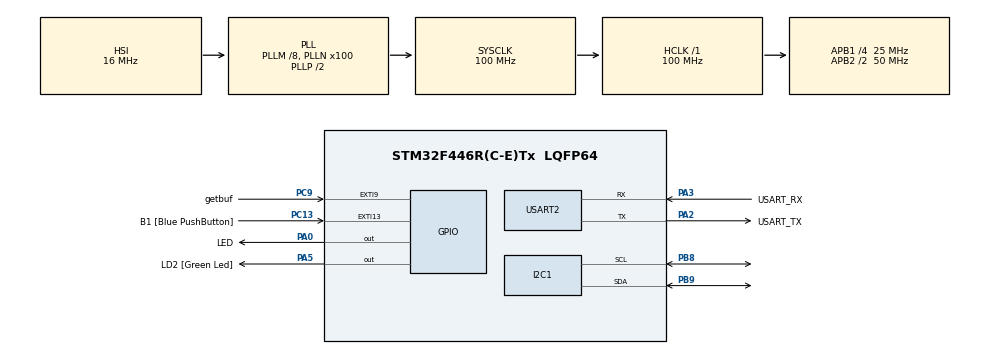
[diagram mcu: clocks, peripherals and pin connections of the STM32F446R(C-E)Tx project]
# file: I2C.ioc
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Mcu.Family=STM32F4
Mcu.Name=STM32F446R(C-E)Tx
Mcu.Package=LQFP64
NVIC.EXTI9_5_IRQn=true\:0\:0\:false\:false\:true\:true\:true
NVIC.PriorityGroup=NVIC_PRIORITYGROUP_0
PA0-WKUP.GPIO_Label=LED
PA0-WKUP.PinState=GPIO_PIN_RESET
PA0-WKUP.Signal=GPIO_Output
PA13.GPIO_Label=TMS
PA13.Mode=Serial_Wire
PA13.Signal=SYS_JTMS-SWDIO
PA14.GPIO_Label=TCK
PA14.Mode=Serial_Wire
PA14.Signal=SYS_JTCK-SWCLK
PA2.GPIO_Label=USART_TX
PA2.Mode=Asynchronous
PA2.Signal=USART2_TX
PA3.GPIO_Label=USART_RX
PA3.Mode=Asynchronous
PA3.Signal=USART2_RX
PA5.GPIO_Label=LD2 [Green Led]
PA5.Signal=GPIO_Output
PB3.GPIO_Label=SWO
PB3.Signal=SYS_JTDO-SWO
PB8.Mode=I2C
PB8.Signal=I2C1_SCL
PB9.Mode=I2C
PB9.Signal=I2C1_SDA
PC13.GPIO_Label=B1 [Blue PushButton]
PC13.GPIO_ModeDefaultEXTI=GPIO_MODE_IT_FALLING
PC13.Signal=GPXTI13
PC14-OSC32_IN.Mode=LSE-External-Oscillator
PC14-OSC32_IN.Signal=RCC_OSC32_IN
PC15-OSC32_OUT.Mode=LSE-External-Oscillator
PC15-OSC32_OUT.Signal=RCC_OSC32_OUT
PC9.GPIO_Label=getbuf
PC9.GPIO_ModeDefaultEXTI=GPIO_MODE_IT_FALLING
PC9.GPIO_PuPd=GPIO_NOPULL
PC9.Signal=GPXTI9
PH0-OSC_IN.Mode=HSE-External-Oscillator
PH0-OSC_IN.Signal=RCC_OSC_IN
PH1-OSC_OUT.Mode=HSE-External-Oscillator
PH1-OSC_OUT.Signal=RCC_OSC_OUT
ProjectManager.HeapSize=0x200
ProjectManager.StackSize=0x400
ProjectManager.TargetToolchain=SW4STM32
RCC.48MHZClocksFreq_Value=84000000
RCC.AHBFreq_Value=100000000
RCC.APB1CLKDivider=RCC_HCLK_DIV4
RCC.APB1Freq_Value=25000000
RCC.APB1TimFreq_Value=50000000
RCC.APB2CLKDivider=RCC_HCLK_DIV2
RCC.APB2Freq_Value=50000000
RCC.APB2TimFreq_Value=100000000
RCC.CortexFreq_Value=100000000
RCC.FLatency-AdvancedSettings=FLASH_LATENCY_3
RCC.HCLKFreq_Value=100000000
RCC.HSE_VALUE=8000000
RCC.HSI_VALUE=16000000
RCC.PLLM=8
RCC.PLLN=100
RCC.SYSCLKFreq_VALUE=100000000
RCC.SYSCLKSource=RCC_SYSCLKSOURCE_PLLCLK
RCC.USBFreq_Value=100000000
RCC.VCOOutputFreq_Value=200000000
USART2.VirtualMode=VM_ASYNC
board=NUCLEO-F446RE

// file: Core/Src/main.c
/* USER CODE BEGIN Header */
/**
  ******************************************************************************
  * @file           : main.c
  * @brief          : Main program body
  ******************************************************************************
  * @attention
  *
  * <h2><center>&copy; Copyright (c) 2020 STMicroelectronics.
  * All rights reserved.</center></h2>
  *
  * This software component is licensed by ST under BSD 3-Clause license,
  * the "License"; You may not use this file except in compliance with the
  * License. You may obtain a copy of the License at:
  *                        opensource.org/licenses/BSD-3-Clause
  *
  ******************************************************************************
  */
/* USER CODE END Header */
#include "main.h"
#include "i2c.h"
#include "usart.h"
#include "gpio.h"

/* USER CODE BEGIN Includes */
#include "string.h"
#include "stdio.h"

/* USER CODE END Includes */

/* USER CODE BEGIN PV */

uint8_t sendbuf [64];
uint8_t loeschen[8];
uint8_t Invert[6];
uint8_t Helli[7];
uint8_t ack[2];
uint8_t  len;
uint8_t bcc;
uint8_t ret;
uint8_t ausfuehrung=0;
volatile uint8_t status;

/* USER CODE END PV */

void SystemClock_Config(void);
/* USER CODE BEGIN PFP */
#ifdef __GNUC__
  #define PUTCHAR_PROTOTYPE int __io_putchar (int ch)
#else
  #define PUTCHAR_PROTOTYPE int fputc (int ch, FILE *f)
#endif /*__GNUC__*/

PUTCHAR_PROTOTYPE
{
	HAL_UART_Transmit (&huart2, (uint8_t*) &ch, 1, 0xFFFF);
	return ch;
}
/* USER CODE END PFP */

/* USER CODE BEGIN 0 */
uint8_t edip240_SchalterStellung (uint8_t BaseAdress, uint8_t I2CAdress)
{
	uint8_t bcc=0;
	uint8_t ack[1];
	uint8_t Sendeanfrage[4];
	uint8_t Rueckgabewert[7];
	uint8_t Pruefsumme=0;

	Sendeanfrage[0]=I2CAdress+1;
	Sendeanfrage[1]=0x01;
	Sendeanfrage[2]=0x53;
	for (int i=0;i<=2;i++)
	{
		bcc += Sendeanfrage[i];
	}
	Sendeanfrage[3]=bcc;

	HAL_I2C_Master_Transmit(&hi2c1,BaseAdress,Sendeanfrage,4,0xff);
	HAL_I2C_Master_Receive(&hi2c1,BaseAdress,ack,1,0xff);
	HAL_I2C_Master_Receive(&hi2c1,BaseAdress,Rueckgabewert,7,0xff);

for(int i=0;i<=6;i++)
{
	printf("Rueckgabewert %2i= %2x \n",i,Rueckgabewert[i]);
}

	for(int p=0;p<=5;p++)
	{
		Pruefsumme += Rueckgabewert[p];
	}
	printf("Pruefsumme= %2x \n",Pruefsumme);
	if (Pruefsumme== Rueckgabewert[6])
	{
		if (Rueckgabewert[0]==I2CAdress)
		{
			if(Rueckgabewert[2]==0x1B)
			{
				if(Rueckgabewert[3]==0x41)
				{
					return Rueckgabewert[5];
				}
			}
		}
	}

}

void edip240_Gerade_zeichnen(uint8_t Baseadress, uint8_t I2CAdress, uint8_t x1,uint8_t y1,uint8_t x2,uint8_t y2)
{
	uint8_t sendbuf[10];
	uint8_t bcc=0;
	uint8_t ack[1];
	sendbuf[0]= I2CAdress;
	sendbuf[1]= 0x07;
	sendbuf[2]= 0x1B;
	sendbuf[3]= 0x47;
	sendbuf[4]= 0x44;
	sendbuf[5]= x1;
	sendbuf[6]= y1;
	sendbuf[7]= x2;
	sendbuf[8]= y2;

	for (int i=0;i<=8;i++)
		{
			bcc += sendbuf[i];
		}
		sendbuf[9]=bcc;

	HAL_I2C_Master_Transmit(&hi2c1,Baseadress,sendbuf,10,0xff);
	HAL_I2C_Master_Receive(&hi2c1,Baseadress,ack,1,0xff);
}
/* USER CODE END 0 */

int main(void)
{
  /* USER CODE BEGIN 1 */

	uint8_t edip240_protokoll (uint16_t dev_adr, uint8_t max_byte, uint8_t timeout)
	{
	     uint8_t  k, ret;
	     uint8_t  edip_buf[6], summe, temp[2];

	    edip_buf[0] = 0x12;                // DC2
	    edip_buf[1] = 3;                // len
	    edip_buf[2] = 0x44;                // D
	    edip_buf[3] = max_byte;            // max_byte
	    edip_buf[4] = timeout;            // timeout

	    summe = 0;
	    for (k=0; k<5; k++)
	    {
	        summe = summe + edip_buf[k];
	    }
	    edip_buf[5] = summe;            // Prüfbyte bcc

	    ret = HAL_I2C_Master_Transmit(&hi2c1, dev_adr, edip_buf, 6, 10);
	    HAL_I2C_Master_Receive(&hi2c1, dev_adr, temp, 1, 1);
	    HAL_Delay(50);
	    return ret;
	}

	void edip240_Clear (uint8_t BaseAdress,uint8_t I2CAdress){
		uint8_t clear[6];
		uint8_t bcc;
		clear[0]= I2CAdress;
		clear[1]= 0x03;
		clear[2]= 0x1B;
		clear[3]= 0x44;
		clear[4]= 0x4C;
		for (int i=0;i<=4;i++){
				bcc += clear[i];
				}
		clear[5]= bcc;
	}
void Invertieren(uint8_t* INV){
		INV[0]=0x11;
		INV[1]=0x03;
		INV[2]=0x1B;
		INV[3]=0x44;
		INV[4]=0x49;
		INV[5]=0xBC;
}

void Helligkeit (uint8_t *Sendarray,uint8_t staerke)
{
	int bcc;
		Sendarray[0]=0x11;
		Sendarray[1]=0x04;
		Sendarray[2]=0x1B;
		Sendarray[3]=0x59;
		Sendarray[4]=0x48;
		Sendarray[5]=staerke;

		for (int i=0;i<=5;i++){
		bcc += Sendarray[i];
		}

		Sendarray[6]=bcc;
}

void edip240_touch_schalter(uint8_t BaseAdress,uint8_t I2CAdress, uint8_t x1, uint8_t y1, uint8_t x2, uint8_t y2, uint8_t downcode, uint8_t upcode, char *string, uint8_t rahmen)
{
    uint8_t arr[64];
    uint8_t ack[2];
    uint8_t sum = 0;
    uint8_t len = 12;
    int str_len = 0;
    uint8_t arr_len = (uint8_t)strlen(string) + len;
    arr[0] = I2CAdress;
    arr[2] = 0x1B;
    arr[3] = 0x41;
    arr[4] = 0x4B;
    arr[5] = x1;
    arr[6] = y1;
    arr[7] = x2;
    arr[8] = y2;
    arr[9] = downcode;
    arr[10] = upcode;
    arr[11] = 0x43; // C für text begin
    for (int a = len; a < arr_len + 1; a++)
    {
        arr[a] = (uint8_t)string[str_len];
        if (str_len != strlen(string) - 1)
        {
            str_len++;
        }
        else
        {
            arr[a + 1] = 0x00;
            arr[a + 2] = 0x1B;
            arr[a + 3] = 0x41;
            arr[a + 4] = 0x45;
            arr[a + 5] = rahmen;
            arr_len = arr_len + 5;
            break;
        }
    }
    arr[1] = arr_len - 2;
    for (int b = 0; b < arr_len; b++)
    {
        sum = sum + arr[b];
    }
    arr[arr_len] = sum;
    HAL_I2C_Master_Transmit(&hi2c1,BaseAdress , arr, 21, 0xff);
    HAL_I2C_Master_Receive(&hi2c1, BaseAdress, ack, 1, 0xff);
}

/*
	void edip240_touch_schalter(uint8_t *arr, uint8_t x1, uint8_t y1, uint8_t x2, uint8_t y2, uint8_t downcode, uint8_t upcode, char *string, uint8_t rahmen)
	{
	    uint8_t sum = 0;
	    int len = 12;
	    int str_len = 0;
	    int arr_len = (int)strlen(string) + len; // die Plus vier für die Rahmen einstellung
	    arr[0] = 0x11;
	    arr[2] = 0x1B;
	    arr[3] = 0x41;
	    arr[4] = 0x4B;
	    arr[5] = x1;
	    arr[6] = y1;
	    arr[7] = x2;
	    arr[8] = y2;
	    arr[9] = downcode;
	    arr[10] = upcode;
	    arr[11] = 0x43; // C für text begin
	    for (int a = len; a < arr_len + 1; a++)
	    {
	        arr[a] = (uint8_t)string[str_len];
	        if (str_len != strlen(string) - 1)
	        {
	            str_len++;
	        }
	        else
	        {
	        	arr[a + 1] = 0x00;
	            arr[a + 2] = 0x1B;
	            arr[a + 3] = 0x41;
	            arr[a + 4] = 0x45;
	            arr[a + 5] = rahmen;
	            arr_len = arr_len + 5;
	            break;
	        }
	    }
	    arr[1] = arr_len - 2;
	    for (int b = 0; b < arr_len; b++)
	    {
	        sum = sum + arr[b];
	    }
	    arr[arr_len] = sum;
	    arr_len++;
	    //printf(" Länge ist %i in Hex %x der bcc ist %x\n", arr_len, arr_len, sum);
	    //return arr_len;
	}

	void ediptft_touch_schalter(uint8_t *arr, uint16_t x1, uint16_t y1, uint16_t x2, uint16_t y2, uint8_t downcode, uint8_t upcode, char *string, uint8_t rahmen)
	{
	    uint8_t sum = 0;
	    int len = 16;
	    int str_len = 0;
	    int arr_len = (int)strlen(string) + len; // die Plus vier für die Rahmen einstellung
	    arr[0] = 0x11;
	    arr[2] = 0x1B;
	    arr[3] = 0x41;
	    arr[4] = 0x4B;
	    arr[5] = x1 >> 8;
	    arr[6] = (uint8_t)x1;
	    arr[7] = y1 >> 8;
	    arr[8] = (uint8_t)y1;
	    arr[9] = x2 >> 8;
	    arr[10] = (uint8_t)x2;
	    arr[11] = y2 >> 8;
	    arr[12] = (uint8_t)y2;
	    arr[13] = downcode;
	    arr[14] = upcode;
	    arr[15] = 0x43; // C für text begin
	    for (int a = len; a < arr_len + 1; a++)
	    {
	        arr[a] = (uint8_t)string[str_len];
	        if (str_len != strlen(string) - 1)
	        {
	            str_len++;
	        }
	        else
	        {
	            arr[a + 1] = 0x1B;
	            arr[a + 2] = 0x41;
	            arr[a + 3] = 0x45;
	            arr[a + 4] = rahmen;
	            arr_len = arr_len + 4;
	            break;
	        }
	    }
	    arr[1] = arr_len - 2;
	    for (int b = 0; b < arr_len; b++)
	    {
	        sum = sum + arr[b];
	    }
	    arr[arr_len] = sum;
	    arr_len++;
	    printf(" Länge ist %i in Hex %x der bcc ist %x\n", arr_len, arr_len, sum);
	    //return arr_len;
	}

	int edip240_touch_schalter_lesen(uint8_t *sendbuffer)
{

    int len = 3;
    uint8_t sum = 0;
    if (sendbuffer[1] == 0x11)
    {
        sum = sum + 0x11;
        sum = sum + sendbuffer[2];
        for (int i = 1; i <= sendbuffer[2]; i++)
        {
            sum = sum + sendbuffer[i + 2];
            len++;
        }
        if (sum == sendbuffer[len])
        {
            return sendbuffer[len - 1];
        }
        else
        {
            return 0;
        }
    }
    return 0;
}

	*/

	/*
void getbuffer(uint8_t *get)
{
    get[0] = 0x12;
    get[1] = 0x01;
    get[2] = 0x53;
    get[3] = 0x66;
}

*/
  /* USER CODE END 1 */

  /* MCU Configuration--------------------------------------------------------*/

  /* Reset of all peripherals, Initializes the Flash interface and the Systick. */
  HAL_Init();

  /* Configure the system clock */
  SystemClock_Config();

  /* Initialize all configured peripherals */
  MX_GPIO_Init();
  MX_I2C1_Init();
  MX_USART2_UART_Init();

  /* Infinite loop */
  while (1)
  {

    /* USER CODE BEGIN 3 */
	  if(HAL_GPIO_ReadPin(B1_GPIO_Port,B1_Pin)==0)
	  	  {
	  	   while(HAL_GPIO_ReadPin(B1_GPIO_Port,B1_Pin)==0);
	  	   	   ret=HAL_I2C_IsDeviceReady(&hi2c1, 0xDE, 3, 0xffff);
	  		   if(ret==0)
	  		      {
	  			   edip240_protokoll(0xDE,64,2);
	  			   edip240_Clear(0xDE,0x11);
	  			   edip240_touch_schalter(0xDE,0x11,100,50,140,78,171,205,"Ein",9);
	  		      }
	  	  }

if(status==205)
	{ ausfuehrung=1;
	 HAL_GPIO_WritePin(LED_GPIO_Port,LED_Pin,SET);
	 while(ausfuehrung==1)
	 {
		 for(int a = 0 ; a <= 128 ; a+3)
		 {
			 edip240_Gerade_zeichnen(0xDE,0x11,a,0,239,127);
			 HAL_Delay(10);
		 }
		 ausfuehrung=0;
	 }
	}

else if(status==171)
	{

	 HAL_GPIO_WritePin(LED_GPIO_Port,LED_Pin,RESET);

	}

printf("Status: %3i\n",status);

  }

  /* USER CODE END 3 */
}

void SystemClock_Config(void)
{
  RCC_OscInitTypeDef RCC_OscInitStruct = {0};
  RCC_ClkInitTypeDef RCC_ClkInitStruct = {0};

  /** Configure the main internal regulator output voltage
  */
  __HAL_RCC_PWR_CLK_ENABLE();
  __HAL_PWR_VOLTAGESCALING_CONFIG(PWR_REGULATOR_VOLTAGE_SCALE3);
  /** Initializes the RCC Oscillators according to the specified parameters
  * in the RCC_OscInitTypeDef structure.
  */
  RCC_OscInitStruct.OscillatorType = RCC_OSCILLATORTYPE_HSI;
  RCC_OscInitStruct.HSIState = RCC_HSI_ON;
  RCC_OscInitStruct.HSICalibrationValue = RCC_HSICALIBRATION_DEFAULT;
  RCC_OscInitStruct.PLL.PLLState = RCC_PLL_ON;
  RCC_OscInitStruct.PLL.PLLSource = RCC_PLLSOURCE_HSI;
  RCC_OscInitStruct.PLL.PLLM = 8;
  RCC_OscInitStruct.PLL.PLLN = 100;
  RCC_OscInitStruct.PLL.PLLP = RCC_PLLP_DIV2;
  RCC_OscInitStruct.PLL.PLLQ = 2;
  RCC_OscInitStruct.PLL.PLLR = 2;
  if (HAL_RCC_OscConfig(&RCC_OscInitStruct) != HAL_OK)
  {
    Error_Handler();
  }
  /** Initializes the CPU, AHB and APB buses clocks
  */
  RCC_ClkInitStruct.ClockType = RCC_CLOCKTYPE_HCLK|RCC_CLOCKTYPE_SYSCLK
                              |RCC_CLOCKTYPE_PCLK1|RCC_CLOCKTYPE_PCLK2;
  RCC_ClkInitStruct.SYSCLKSource = RCC_SYSCLKSOURCE_PLLCLK;
  RCC_ClkInitStruct.AHBCLKDivider = RCC_SYSCLK_DIV1;
  RCC_ClkInitStruct.APB1CLKDivider = RCC_HCLK_DIV4;
  RCC_ClkInitStruct.APB2CLKDivider = RCC_HCLK_DIV2;

  if (HAL_RCC_ClockConfig(&RCC_ClkInitStruct, FLASH_LATENCY_3) != HAL_OK)
  {
    Error_Handler();
  }
}

void Error_Handler(void)
{
}

/************************ (C) COPYRIGHT STMicroelectronics *****END OF FILE****/
